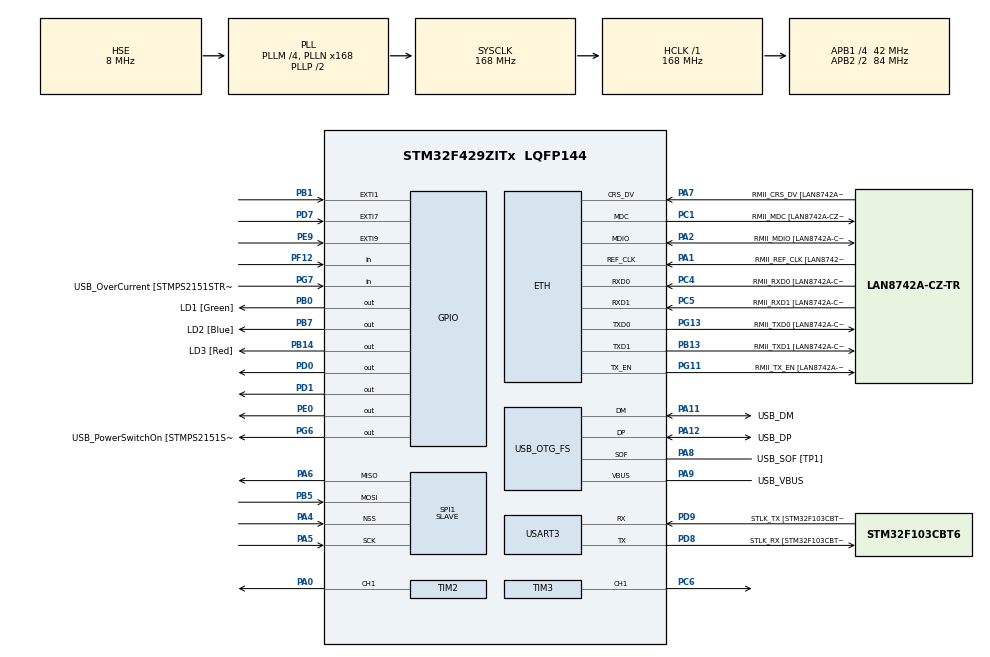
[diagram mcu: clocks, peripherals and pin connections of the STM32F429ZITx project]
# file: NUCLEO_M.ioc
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ETH.MediaInterface=HAL_ETH_RMII_MODE
ETH.PHY_Name=LAN8742A_PHY_ADDRESS
ETH.PHY_Value=0
ETH.PhyAddress=0
FREERTOS.Tasks01=defaultTask,0,256,StartDefaultTask,Default,NULL,Dynamic,NULL,NULL;DoorActing,0,128,DoorActingTask,Default,NULL,Dynamic,NULL,NULL;Logic,1,128,LogicTask,Default,NULL,Dynamic,NULL,NULL;Actuator,0,128,ActuatorTask,Default,NULL,Dynamic,NULL,NULL;DriveMode,2,128,DriveModeTask,Default,NULL,Dynamic,NULL,NULL
Mcu.Family=STM32F4
Mcu.Name=STM32F429ZITx
Mcu.Package=LQFP144
NVIC.EXTI9_5_IRQn=true\:6\:0\:true\:false\:true\:true\:true\:true\:true
NVIC.PriorityGroup=NVIC_PRIORITYGROUP_4
NVIC.SPI1_IRQn=true\:5\:0\:false\:false\:true\:true\:true\:true\:true
PA0/WKUP.Signal=S_TIM2_CH1_ETR
PA1.GPIO_Label=RMII_REF_CLK [LAN8742A-CZ-TR_REFCLK0]
PA1.Mode=RMII
PA1.Signal=ETH_REF_CLK
PA10.GPIO_Label=USB_ID
PA10.Signal=USB_OTG_FS_ID
PA11.GPIO_Label=USB_DM
PA11.Mode=Device_Only
PA11.Signal=USB_OTG_FS_DM
PA12.GPIO_Label=USB_DP
PA12.Mode=Device_Only
PA12.Signal=USB_OTG_FS_DP
PA13.GPIO_Label=TMS
PA13.Mode=Serial_Wire
PA13.Signal=SYS_JTMS-SWDIO
PA14.GPIO_Label=TCK
PA14.Mode=Serial_Wire
PA14.Signal=SYS_JTCK-SWCLK
PA2.GPIO_Label=RMII_MDIO [LAN8742A-CZ-TR_MDIO]
PA2.Mode=RMII
PA2.Signal=ETH_MDIO
PA4.GPIO_PuPd=GPIO_PULLUP
PA4.Mode=NSS_Signal_Hard_Input
PA4.Signal=SPI1_NSS
PA5.Mode=Full_Duplex_Slave
PA5.Signal=SPI1_SCK
PA6.Mode=Full_Duplex_Slave
PA6.Signal=SPI1_MISO
PA7.GPIO_Label=RMII_CRS_DV [LAN8742A-CZ-TR_CRS_DV]
PA7.Mode=RMII
PA7.Signal=ETH_CRS_DV
PA8.GPIO_Label=USB_SOF [TP1]
PA8.Mode=Activate_SOF_FS
PA8.Signal=USB_OTG_FS_SOF
PA9.GPIO_Label=USB_VBUS
PA9.Mode=Activate_VBUS
PA9.Signal=USB_OTG_FS_VBUS
PB0.GPIO_Label=LD1 [Green]
PB0.Signal=GPIO_Output
PB1.GPIO_ModeDefaultEXTI=GPIO_MODE_IT_FALLING
PB1.GPIO_PuPd=GPIO_PULLUP
PB1.Signal=GPXTI1
PB13.GPIO_Label=RMII_TXD1 [LAN8742A-CZ-TR_TXD1]
PB13.Mode=RMII
PB13.Signal=ETH_TXD1
PB14.GPIO_Label=LD3 [Red]
PB14.Signal=GPIO_Output
PB5.Mode=Full_Duplex_Slave
PB5.Signal=SPI1_MOSI
PB7.GPIO_Label=LD2 [Blue]
PB7.Signal=GPIO_Output
PC1.GPIO_Label=RMII_MDC [LAN8742A-CZ-TR_MDC]
PC1.Mode=RMII
PC1.Signal=ETH_MDC
PC14/OSC32_IN.Mode=LSE-External-Oscillator
PC14/OSC32_IN.Signal=RCC_OSC32_IN
PC15/OSC32_OUT.Mode=LSE-External-Oscillator
PC15/OSC32_OUT.Signal=RCC_OSC32_OUT
PC4.GPIO_Label=RMII_RXD0 [LAN8742A-CZ-TR_RXD0]
PC4.Mode=RMII
PC4.Signal=ETH_RXD0
PC5.GPIO_Label=RMII_RXD1 [LAN8742A-CZ-TR_RXD1]
PC5.Mode=RMII
PC5.Signal=ETH_RXD1
PC6.Signal=S_TIM3_CH1
PD0.Signal=GPIO_Output
PD1.Signal=GPIO_Output
PD7.GPIO_ModeDefaultEXTI=GPIO_MODE_IT_FALLING
PD7.GPIO_PuPd=GPIO_PULLUP
PD7.Signal=GPXTI7
PD8.GPIO_Label=STLK_RX [STM32F103CBT6_PA3]
PD8.Mode=Asynchronous
PD8.Signal=USART3_TX
PD9.GPIO_Label=STLK_TX [STM32F103CBT6_PA2]
PD9.Mode=Asynchronous
PD9.Signal=USART3_RX
PE0.Signal=GPIO_Output
PE9.GPIO_ModeDefaultEXTI=GPIO_MODE_IT_FALLING
PE9.GPIO_PuPd=GPIO_PULLUP
PE9.Signal=GPXTI9
PF12.GPIO_PuPd=GPIO_PULLUP
PF12.Signal=GPIO_Input
PG11.GPIO_Label=RMII_TX_EN [LAN8742A-CZ-TR_TXEN]
PG11.Mode=RMII
PG11.Signal=ETH_TX_EN
PG13.GPIO_Label=RMII_TXD0 [LAN8742A-CZ-TR_TXD0]
PG13.Mode=RMII
PG13.Signal=ETH_TXD0
PG6.GPIO_Label=USB_PowerSwitchOn [STMPS2151STR_EN]
PG6.Signal=GPIO_Output
PG7.GPIO_Label=USB_OverCurrent [STMPS2151STR_FAULT]
PG7.Signal=GPIO_Input
PH0/OSC_IN.GPIO_Label=MCO [STM32F103CBT6_PA8]
PH0/OSC_IN.Mode=HSE-External-Clock-Source
PH0/OSC_IN.Signal=RCC_OSC_IN
PH1/OSC_OUT.Mode=HSE-External-Clock-Source
PH1/OSC_OUT.Signal=RCC_OSC_OUT
ProjectManager.HeapSize=0x2000
ProjectManager.StackSize=0x4000
ProjectManager.TargetToolchain=STM32CubeIDE
RCC.48MHZClocksFreq_Value=48000000
RCC.AHBFreq_Value=168000000
RCC.APB1CLKDivider=RCC_HCLK_DIV4
RCC.APB1Freq_Value=42000000
RCC.APB1TimFreq_Value=84000000
RCC.APB2CLKDivider=RCC_HCLK_DIV2
RCC.APB2Freq_Value=84000000
RCC.APB2TimCLKDivider=2
RCC.APB2TimFreq_Value=168000000
RCC.CortexFreq_Value=168000000
RCC.HCLKFreq_Value=168000000
RCC.HSE_VALUE=8000000
RCC.HSI_VALUE=16000000
RCC.PLLM=4
RCC.PLLMUL=RCC_PLL_MUL9
RCC.PLLN=168
RCC.PLLQ=7
RCC.PRESCALERUSB=RCC_USBCLKSOURCE_PLL_DIV1_5
RCC.SYSCLKFreq_VALUE=168000000
RCC.SYSCLKSource=RCC_SYSCLKSOURCE_PLLCLK
RCC.SYSCLKSourceVirtual=RCC_SYSCLKSOURCE_PLLCLK
RCC.USBFreq_Value=48000000
RCC.VCOOutputFreq_Value=336000000
SH.S_TIM2_CH1_ETR.0=TIM2_CH1,PWM Generation1 CH1
SH.S_TIM3_CH1.0=TIM3_CH1,PWM Generation1 CH1
SPI1.Direction=SPI_DIRECTION_2LINES
SPI1.Mode=SPI_MODE_SLAVE
SPI1.VirtualNSS=VM_NSSHARD
SPI1.VirtualType=VM_SLAVE
TIM2.Channel-PWM\ Generation1\ CH1=TIM_CHANNEL_1
TIM2.Period=2000-1
TIM2.Prescaler=83
TIM3.Channel-PWM\ Generation1\ CH1=TIM_CHANNEL_1
TIM3.Period=20000-1
TIM3.Prescaler=84-1
USART3.VirtualMode=VM_ASYNC
USB_OTG_FS.VirtualMode=Device_Only
VP_FREERTOS_VS_CMSIS_V1.Mode=CMSIS_V1
board=NUCLEO-F429ZI

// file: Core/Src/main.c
/* USER CODE BEGIN Header */
/**
  ******************************************************************************
  * @file           : main.c
  * @brief          : Main program body
  ******************************************************************************
  * @attention
  *
  * Copyright (c) 2026 STMicroelectronics.
  * All rights reserved.
  *
  * This software is licensed under terms that can be found in the LICENSE file
  * in the root directory of this software component.
  * If no LICENSE file comes with this software, it is provided AS-IS.
  *
  ******************************************************************************
  */
/* USER CODE END Header */
#include "main.h"
#include "string.h"
#include "cmsis_os.h"

/* USER CODE BEGIN Includes */
#include "FreeRTOS.h"
#include "task.h"
#include "stdio.h"
/* USER CODE END Includes */

ETH_TxPacketConfig TxConfig;
ETH_DMADescTypeDef  DMARxDscrTab[ETH_RX_DESC_CNT]; /* Ethernet Rx DMA Descriptors */
ETH_DMADescTypeDef  DMATxDscrTab[ETH_TX_DESC_CNT]; /* Ethernet Tx DMA Descriptors */

ETH_HandleTypeDef heth;

SPI_HandleTypeDef hspi1;

TIM_HandleTypeDef htim2;
TIM_HandleTypeDef htim3;

UART_HandleTypeDef huart3;

PCD_HandleTypeDef hpcd_USB_OTG_FS;

osThreadId defaultTaskHandle;
osThreadId DoorActingHandle;
osThreadId LogicHandle;
osThreadId ActuatorHandle;
osThreadId DriveModeHandle;
/* USER CODE BEGIN PV */
// ----- Macro -----

// 크루즈
#define SAFE_DECEL  (0.5f)  		// 감속 제어 값
#define SAFE_ACCEL   (0.5f)  		// 가속 제어 값
#define PWM_MAX_VALUE (2000-1)      // 큐브MX에서 설정한 Counter Period (ARR) 값에 맞춰 수정하세요
#define PWM_STEP (0.01f)     // 가속도 당 PWM 변화 가중치 (테스트 후 조정 필요)
#define INF_DIST (999.0f)
#define DETECT_TIMEOUT_MS (5000)
#define DIST_SCAILE (5)
// 문
#define TH_PERSON_WARN_M        (30.0f)
#define TH_VEHICLE_WARN_M       (100.0f)   // 그림 기준: 8m 이하면 Warning(이륜차)
#define TH_VEHICLE_LOCK_M       (50.0f)   // 그림 기준: 8m 이하면 Warning(이륜차)
#define SERVO_PULSE_CLOSE_US    (1000)   // 500은 너무 위험할 수 있음(서보마다 다름)
#define SERVO_PULSE_OPEN_US     (1600)   // 필요시 1500/1800 등으로 캘리브레이션
#define DOOR_OPEN_HOLD_MS       (3000)   // 버튼 눌렀을 때 문 열림 유지시간
#define EMERGENCY_HOLD_MS       (5000)
#define DOOR_TIMEOUT 			(500)
// ----- 전역 구조체 정의 -----

// 크루즈
typedef enum {
    ACTION_MAINTAIN = 0,
    ACTION_DECELERATE,
    ACTION_ACCELERATE
} ActionState;

typedef enum {
	STOPPED = 0,
	DRIVING
} DrivingState;

typedef struct {				//크루즈 주행 시스템 위한 structure
	float distFront;
	uint8_t detectedFront;      // 전방 물체 유무
	    // 후방 데이터
	float distRear;
	uint8_t detectedRear;       // 후방 물체 유무

	float targetSpeed;          // 내 설정 속도 (%)
	//float safeDistThreshold;    // 안전거리 임계값
	uint8_t isEnabled;

} VehicleStatus;

typedef struct {
    VehicleStatus vs;
    uint32_t lastFrontTick;
    uint32_t lastRearTick;
} VehicleBoard;

// 문
typedef enum {
    MODE_MONITORING = 0,
    MODE_WARNING,
    MODE_LOCK,
	MODE_DRIVING
} SystemState_t;

typedef enum {
    CLASS_PERSON = 0,
    CLASS_BYCYCLE,
	CLASS_VEHICLE,
	CLASS_BIKE,
	CLASS_NONE
} ObjectClass_t;

// ---- 전역 변수 및 구조체 선언 ----
//통합
SemaphoreHandle_t startbtn_sem;
volatile DrivingState Drive_st = DRIVING;

//통신
uint8_t spi_tx_dummy[PACKET_SIZE] = {0};
Shared_Buffer_t g_spi_buf;

//크루즈
int32_t current_duty = (int32_t)(50.0f * (PWM_MAX_VALUE / 100.0f));      									// 현재 적용된 PWM Duty 값
volatile VehicleBoard g_board;
volatile ActionState currentAction = ACTION_MAINTAIN;			//현재 차량의 속도 상태

//문
SemaphoreHandle_t semaphoreH_Door;
volatile uint8_t button_pressed = 0;
volatile float currentDistance = INF_DIST;
volatile float preDistance = INF_DIST;
volatile ObjectClass_t currentClass = CLASS_NONE;
volatile uint8_t emergency_mode = 0;
volatile SystemState_t currentMode = MODE_MONITORING;
volatile uint32_t lastDoorTick = 0;

/* USER CODE END PV */

void SystemClock_Config(void);
static void MX_GPIO_Init(void);
static void MX_ETH_Init(void);
static void MX_USART3_UART_Init(void);
static void MX_USB_OTG_FS_PCD_Init(void);
static void MX_SPI1_Init(void);
static void MX_TIM2_Init(void);
static void MX_TIM3_Init(void);
void StartDefaultTask(void const * argument);
void DoorActingTask(void const * argument);
void LogicTask(void const * argument);
void ActuatorTask(void const * argument);
void DriveModeTask(void const * argument);

/* USER CODE BEGIN PFP */
static SystemState_t EvaluateMode(float dist, ObjectClass_t cls);
static void BoardTimeoutUpdate(void);
static void DecideActionFromBoard(void);
void Maintain_TargetSpeed(float target);
void Apply_Acceleration(float accel_value);
void Apply_Deceleration(float decel_value);
void Servo_Door(uint32_t* arg_open_until, uint8_t* arg_last_btn);
void DoorForceOpen(void);
void Motor_StartKick(void);

/* USER CODE END PFP */

/* USER CODE BEGIN 0 */
#include <stdarg.h>

void Uart3_Send_Byte(char ch){
	//	TDR이 비었는 경우에 쓰기 가능 (TXE == 1 대기)
	if(ch=='\n'){
		while((USART3->SR>>7 & 0x1)==0);
		USART3->DR = '\r';	// TDR <- c
	}
	while((USART3->SR>>7 & 0x1)==0);
	USART3->DR = ch;		// TDR <- c
}

void Uart3_Send_String(char* str){
	while(*str){
		Uart3_Send_Byte(*str++);
	}
}

void Uart3_Printf(char *fmt,...)
{
	va_list ap;
	char string[64];

	va_start(ap,fmt);
	vsnprintf(string,sizeof(string),fmt,ap);
	va_end(ap);
	Uart3_Send_String(string);
}
/* USER CODE END 0 */

int main(void)
{

  /* MCU Configuration--------------------------------------------------------*/

  /* Reset of all peripherals, Initializes the Flash interface and the Systick. */
  HAL_Init();

  /* Configure the system clock */
  SystemClock_Config();

  /* Initialize all configured peripherals */
  MX_GPIO_Init();
  MX_ETH_Init();
  MX_USART3_UART_Init();
  MX_USB_OTG_FS_PCD_Init();
  MX_SPI1_Init();
  MX_TIM2_Init();
  MX_TIM3_Init();
  /* USER CODE BEGIN 2 */

  memset((void*)&g_board, 0, sizeof(g_board));

  HAL_TIM_PWM_Start(&htim2, TIM_CHANNEL_1);
  HAL_TIM_PWM_Start(&htim3, TIM_CHANNEL_1);
  g_board.vs.detectedFront = 0;
  g_board.vs.isEnabled = 1;
  g_board.vs.detectedRear = 0;
  g_board.vs.targetSpeed = 70.0f;
  g_board.vs.distFront = INF_DIST;

  g_board.vs.distRear = INF_DIST;
  HAL_GPIO_WritePin(GPIOD, GPIO_PIN_0, GPIO_PIN_SET);   // IN1
  HAL_GPIO_WritePin(GPIOD, GPIO_PIN_1, GPIO_PIN_RESET); // IN2
  /* USER CODE END 2 */

  /* USER CODE BEGIN RTOS_TIMERS */
  /* start timers, add new ones, ... */
  semaphoreH_Door = xSemaphoreCreateBinary();
  startbtn_sem = xSemaphoreCreateBinary();
  /* USER CODE END RTOS_TIMERS */

  /* Create the thread(s) */
  /* definition and creation of defaultTask */
  osThreadDef(defaultTask, StartDefaultTask, osPriorityNormal, 0, 256);
  defaultTaskHandle = osThreadCreate(osThread(defaultTask), NULL);

  /* definition and creation of DoorActing */
  osThreadDef(DoorActing, DoorActingTask, osPriorityNormal, 0, 128);
  DoorActingHandle = osThreadCreate(osThread(DoorActing), NULL);

  /* definition and creation of Logic */
  osThreadDef(Logic, LogicTask, osPriorityAboveNormal, 0, 128);
  LogicHandle = osThreadCreate(osThread(Logic), NULL);

  /* definition and creation of Actuator */
  osThreadDef(Actuator, ActuatorTask, osPriorityNormal, 0, 128);
  ActuatorHandle = osThreadCreate(osThread(Actuator), NULL);

  /* definition and creation of DriveMode */
  osThreadDef(DriveMode, DriveModeTask, osPriorityHigh, 0, 128);
  DriveModeHandle = osThreadCreate(osThread(DriveMode), NULL);

  /* Start scheduler */
  osKernelStart();

  /* We should never get here as control is now taken by the scheduler */

  /* Infinite loop */
  while (1)
  {

  }
}

void SystemClock_Config(void)
{
  RCC_OscInitTypeDef RCC_OscInitStruct = {0};
  RCC_ClkInitTypeDef RCC_ClkInitStruct = {0};

  /** Configure the main internal regulator output voltage
  */
  __HAL_RCC_PWR_CLK_ENABLE();
  __HAL_PWR_VOLTAGESCALING_CONFIG(PWR_REGULATOR_VOLTAGE_SCALE1);

  /** Initializes the RCC Oscillators according to the specified parameters
  * in the RCC_OscInitTypeDef structure.
  */
  RCC_OscInitStruct.OscillatorType = RCC_OSCILLATORTYPE_HSE;
  RCC_OscInitStruct.HSEState = RCC_HSE_BYPASS;
  RCC_OscInitStruct.PLL.PLLState = RCC_PLL_ON;
  RCC_OscInitStruct.PLL.PLLSource = RCC_PLLSOURCE_HSE;
  RCC_OscInitStruct.PLL.PLLM = 4;
  RCC_OscInitStruct.PLL.PLLN = 168;
  RCC_OscInitStruct.PLL.PLLP = RCC_PLLP_DIV2;
  RCC_OscInitStruct.PLL.PLLQ = 7;
  if (HAL_RCC_OscConfig(&RCC_OscInitStruct) != HAL_OK)
  {
    Error_Handler();
  }

  /** Initializes the CPU, AHB and APB buses clocks
  */
  RCC_ClkInitStruct.ClockType = RCC_CLOCKTYPE_HCLK|RCC_CLOCKTYPE_SYSCLK
                              |RCC_CLOCKTYPE_PCLK1|RCC_CLOCKTYPE_PCLK2;
  RCC_ClkInitStruct.SYSCLKSource = RCC_SYSCLKSOURCE_PLLCLK;
  RCC_ClkInitStruct.AHBCLKDivider = RCC_SYSCLK_DIV1;
  RCC_ClkInitStruct.APB1CLKDivider = RCC_HCLK_DIV4;
  RCC_ClkInitStruct.APB2CLKDivider = RCC_HCLK_DIV2;

  if (HAL_RCC_ClockConfig(&RCC_ClkInitStruct, FLASH_LATENCY_5) != HAL_OK)
  {
    Error_Handler();
  }
}

static void MX_ETH_Init(void)
{

   static uint8_t MACAddr[6];

  heth.Instance = ETH;
  MACAddr[0] = 0x00;
  MACAddr[1] = 0x80;
  MACAddr[2] = 0xE1;
  MACAddr[3] = 0x00;
  MACAddr[4] = 0x00;
  MACAddr[5] = 0x00;
  heth.Init.MACAddr = &MACAddr[0];
  heth.Init.MediaInterface = HAL_ETH_RMII_MODE;
  heth.Init.TxDesc = DMATxDscrTab;
  heth.Init.RxDesc = DMARxDscrTab;
  heth.Init.RxBuffLen = 1524;

  if (HAL_ETH_Init(&heth) != HAL_OK)
  {
    Error_Handler();
  }

  memset(&TxConfig, 0 , sizeof(ETH_TxPacketConfig));
  TxConfig.Attributes = ETH_TX_PACKETS_FEATURES_CSUM | ETH_TX_PACKETS_FEATURES_CRCPAD;
  TxConfig.ChecksumCtrl = ETH_CHECKSUM_IPHDR_PAYLOAD_INSERT_PHDR_CALC;
  TxConfig.CRCPadCtrl = ETH_CRC_PAD_INSERT;

}

static void MX_SPI1_Init(void)
{

  /* SPI1 parameter configuration*/
  hspi1.Instance = SPI1;
  hspi1.Init.Mode = SPI_MODE_SLAVE;
  hspi1.Init.Direction = SPI_DIRECTION_2LINES;
  hspi1.Init.DataSize = SPI_DATASIZE_8BIT;
  hspi1.Init.CLKPolarity = SPI_POLARITY_LOW;
  hspi1.Init.CLKPhase = SPI_PHASE_1EDGE;
  hspi1.Init.NSS = SPI_NSS_HARD_INPUT;
  hspi1.Init.FirstBit = SPI_FIRSTBIT_MSB;
  hspi1.Init.TIMode = SPI_TIMODE_DISABLE;
  hspi1.Init.CRCCalculation = SPI_CRCCALCULATION_DISABLE;
  hspi1.Init.CRCPolynomial = 10;
  if (HAL_SPI_Init(&hspi1) != HAL_OK)
  {
    Error_Handler();
  }

}

static void MX_TIM2_Init(void)
{

  TIM_MasterConfigTypeDef sMasterConfig = {0};
  TIM_OC_InitTypeDef sConfigOC = {0};

  htim2.Instance = TIM2;
  htim2.Init.Prescaler = 83;
  htim2.Init.CounterMode = TIM_COUNTERMODE_UP;
  htim2.Init.Period = 2000-1;
  htim2.Init.ClockDivision = TIM_CLOCKDIVISION_DIV1;
  htim2.Init.AutoReloadPreload = TIM_AUTORELOAD_PRELOAD_DISABLE;
  if (HAL_TIM_PWM_Init(&htim2) != HAL_OK)
  {
    Error_Handler();
  }
  sMasterConfig.MasterOutputTrigger = TIM_TRGO_RESET;
  sMasterConfig.MasterSlaveMode = TIM_MASTERSLAVEMODE_DISABLE;
  if (HAL_TIMEx_MasterConfigSynchronization(&htim2, &sMasterConfig) != HAL_OK)
  {
    Error_Handler();
  }
  sConfigOC.OCMode = TIM_OCMODE_PWM1;
  sConfigOC.Pulse = 0;
  sConfigOC.OCPolarity = TIM_OCPOLARITY_HIGH;
  sConfigOC.OCFastMode = TIM_OCFAST_DISABLE;
  if (HAL_TIM_PWM_ConfigChannel(&htim2, &sConfigOC, TIM_CHANNEL_1) != HAL_OK)
  {
    Error_Handler();
  }
  HAL_TIM_MspPostInit(&htim2);

}

static void MX_TIM3_Init(void)
{

  TIM_MasterConfigTypeDef sMasterConfig = {0};
  TIM_OC_InitTypeDef sConfigOC = {0};

  htim3.Instance = TIM3;
  htim3.Init.Prescaler = 84-1;
  htim3.Init.CounterMode = TIM_COUNTERMODE_UP;
  htim3.Init.Period = 20000-1;
  htim3.Init.ClockDivision = TIM_CLOCKDIVISION_DIV1;
  htim3.Init.AutoReloadPreload = TIM_AUTORELOAD_PRELOAD_DISABLE;
  if (HAL_TIM_PWM_Init(&htim3) != HAL_OK)
  {
    Error_Handler();
  }
  sMasterConfig.MasterOutputTrigger = TIM_TRGO_RESET;
  sMasterConfig.MasterSlaveMode = TIM_MASTERSLAVEMODE_DISABLE;
  if (HAL_TIMEx_MasterConfigSynchronization(&htim3, &sMasterConfig) != HAL_OK)
  {
    Error_Handler();
  }
  sConfigOC.OCMode = TIM_OCMODE_PWM1;
  sConfigOC.Pulse = 0;
  sConfigOC.OCPolarity = TIM_OCPOLARITY_HIGH;
  sConfigOC.OCFastMode = TIM_OCFAST_DISABLE;
  if (HAL_TIM_PWM_ConfigChannel(&htim3, &sConfigOC, TIM_CHANNEL_1) != HAL_OK)
  {
    Error_Handler();
  }
  HAL_TIM_MspPostInit(&htim3);

}

static void MX_USART3_UART_Init(void)
{

  huart3.Instance = USART3;
  huart3.Init.BaudRate = 115200;
  huart3.Init.WordLength = UART_WORDLENGTH_8B;
  huart3.Init.StopBits = UART_STOPBITS_1;
  huart3.Init.Parity = UART_PARITY_NONE;
  huart3.Init.Mode = UART_MODE_TX_RX;
  huart3.Init.HwFlowCtl = UART_HWCONTROL_NONE;
  huart3.Init.OverSampling = UART_OVERSAMPLING_16;
  if (HAL_UART_Init(&huart3) != HAL_OK)
  {
    Error_Handler();
  }

}

static void MX_USB_OTG_FS_PCD_Init(void)
{

  hpcd_USB_OTG_FS.Instance = USB_OTG_FS;
  hpcd_USB_OTG_FS.Init.dev_endpoints = 4;
  hpcd_USB_OTG_FS.Init.speed = PCD_SPEED_FULL;
  hpcd_USB_OTG_FS.Init.dma_enable = DISABLE;
  hpcd_USB_OTG_FS.Init.phy_itface = PCD_PHY_EMBEDDED;
  hpcd_USB_OTG_FS.Init.Sof_enable = ENABLE;
  hpcd_USB_OTG_FS.Init.low_power_enable = DISABLE;
  hpcd_USB_OTG_FS.Init.lpm_enable = DISABLE;
  hpcd_USB_OTG_FS.Init.vbus_sensing_enable = ENABLE;
  hpcd_USB_OTG_FS.Init.use_dedicated_ep1 = DISABLE;
  if (HAL_PCD_Init(&hpcd_USB_OTG_FS) != HAL_OK)
  {
    Error_Handler();
  }

}

static void MX_GPIO_Init(void)
{
  GPIO_InitTypeDef GPIO_InitStruct = {0};

  /* GPIO Ports Clock Enable */
  __HAL_RCC_GPIOC_CLK_ENABLE();
  __HAL_RCC_GPIOH_CLK_ENABLE();
  __HAL_RCC_GPIOA_CLK_ENABLE();
  __HAL_RCC_GPIOB_CLK_ENABLE();
  __HAL_RCC_GPIOF_CLK_ENABLE();
  __HAL_RCC_GPIOE_CLK_ENABLE();
  __HAL_RCC_GPIOD_CLK_ENABLE();
  __HAL_RCC_GPIOG_CLK_ENABLE();

  /*Configure GPIO pin Output Level */
  HAL_GPIO_WritePin(GPIOB, LD1_Pin|LD3_Pin|LD2_Pin, GPIO_PIN_RESET);

  /*Configure GPIO pin Output Level */
  HAL_GPIO_WritePin(USB_PowerSwitchOn_GPIO_Port, USB_PowerSwitchOn_Pin, GPIO_PIN_RESET);

  /*Configure GPIO pin Output Level */
  HAL_GPIO_WritePin(GPIOD, GPIO_PIN_0|GPIO_PIN_1, GPIO_PIN_RESET);

  /*Configure GPIO pin Output Level */
  HAL_GPIO_WritePin(GPIOE, GPIO_PIN_0, GPIO_PIN_RESET);

  /*Configure GPIO pins : LD1_Pin LD3_Pin LD2_Pin */
  GPIO_InitStruct.Pin = LD1_Pin|LD3_Pin|LD2_Pin;
  GPIO_InitStruct.Mode = GPIO_MODE_OUTPUT_PP;
  GPIO_InitStruct.Pull = GPIO_NOPULL;
  GPIO_InitStruct.Speed = GPIO_SPEED_FREQ_LOW;
  HAL_GPIO_Init(GPIOB, &GPIO_InitStruct);

  /*Configure GPIO pin : PB1 */
  GPIO_InitStruct.Pin = GPIO_PIN_1;
  GPIO_InitStruct.Mode = GPIO_MODE_IT_FALLING;
  GPIO_InitStruct.Pull = GPIO_PULLUP;
  HAL_GPIO_Init(GPIOB, &GPIO_InitStruct);

  /*Configure GPIO pin : PF12 */
  GPIO_InitStruct.Pin = GPIO_PIN_12;
  GPIO_InitStruct.Mode = GPIO_MODE_INPUT;
  GPIO_InitStruct.Pull = GPIO_PULLUP;
  HAL_GPIO_Init(GPIOF, &GPIO_InitStruct);

  /*Configure GPIO pin : PE9 */
  GPIO_InitStruct.Pin = GPIO_PIN_9;
  GPIO_InitStruct.Mode = GPIO_MODE_IT_FALLING;
  GPIO_InitStruct.Pull = GPIO_PULLUP;
  HAL_GPIO_Init(GPIOE, &GPIO_InitStruct);

  /*Configure GPIO pin : USB_PowerSwitchOn_Pin */
  GPIO_InitStruct.Pin = USB_PowerSwitchOn_Pin;
  GPIO_InitStruct.Mode = GPIO_MODE_OUTPUT_PP;
  GPIO_InitStruct.Pull = GPIO_NOPULL;
  GPIO_InitStruct.Speed = GPIO_SPEED_FREQ_LOW;
  HAL_GPIO_Init(USB_PowerSwitchOn_GPIO_Port, &GPIO_InitStruct);

  /*Configure GPIO pin : USB_OverCurrent_Pin */
  GPIO_InitStruct.Pin = USB_OverCurrent_Pin;
  GPIO_InitStruct.Mode = GPIO_MODE_INPUT;
  GPIO_InitStruct.Pull = GPIO_NOPULL;
  HAL_GPIO_Init(USB_OverCurrent_GPIO_Port, &GPIO_InitStruct);

  /*Configure GPIO pins : PD0 PD1 */
  GPIO_InitStruct.Pin = GPIO_PIN_0|GPIO_PIN_1;
  GPIO_InitStruct.Mode = GPIO_MODE_OUTPUT_PP;
  GPIO_InitStruct.Pull = GPIO_NOPULL;
  GPIO_InitStruct.Speed = GPIO_SPEED_FREQ_LOW;
  HAL_GPIO_Init(GPIOD, &GPIO_InitStruct);

  /*Configure GPIO pin : PD7 */
  GPIO_InitStruct.Pin = GPIO_PIN_7;
  GPIO_InitStruct.Mode = GPIO_MODE_IT_FALLING;
  GPIO_InitStruct.Pull = GPIO_PULLUP;
  HAL_GPIO_Init(GPIOD, &GPIO_InitStruct);

  /*Configure GPIO pin : PE0 */
  GPIO_InitStruct.Pin = GPIO_PIN_0;
  GPIO_InitStruct.Mode = GPIO_MODE_OUTPUT_PP;
  GPIO_InitStruct.Pull = GPIO_NOPULL;
  GPIO_InitStruct.Speed = GPIO_SPEED_FREQ_LOW;
  HAL_GPIO_Init(GPIOE, &GPIO_InitStruct);

  /* EXTI interrupt init*/
  HAL_NVIC_SetPriority(EXTI9_5_IRQn, 6, 0);
  HAL_NVIC_EnableIRQ(EXTI9_5_IRQn);

}

/* USER CODE BEGIN 4 */

void HAL_GPIO_EXTI_Callback(uint16_t GPIO_Pin)
{
	BaseType_t hpw = pdFALSE;

    if (GPIO_Pin == GPIO_PIN_7) // PD7 or 유저버튼 주행 모드 전환
    {
    	xSemaphoreGiveFromISR(startbtn_sem, &hpw);
    	portYIELD_FROM_ISR(hpw);
    }
    if (GPIO_Pin == GPIO_PIN_9) // PE9 비상 버튼
    {
        if (!emergency_mode) emergency_mode = 1;
        emergency_mode = 1;
    }
}

void HAL_SPI_TxRxCpltCallback(SPI_HandleTypeDef *hspi)
{
    if (hspi->Instance != SPI1) return;

    // 디버그 LED
    HAL_GPIO_TogglePin(GPIOB, LD1_Pin);
    // 1) Header 체크
    if (g_spi_buf.data.header != 0xAA)
        goto restart;

    // 2) Checksum
    uint8_t cs = 0;
    for (int i = 0; i < PACKET_SIZE - 1; i++)
        cs ^= g_spi_buf.buffer[i];

    if (cs != g_spi_buf.data.checksum)
        goto restart;

    // 3) Detected 아니면 무시(너 정책)
    if (g_spi_buf.data.detected > 1)		//detected 0이 앞 1이 뒤
        goto restart;

    // 4) front/rear 판별 기준 (지금은 bbox_x로)
    //    bbox_x > 0 : front, else rear
    uint32_t now = xTaskGetTickCountFromISR();

    // ISR 크리티컬 (FreeRTOS)
    UBaseType_t saved = taskENTER_CRITICAL_FROM_ISR();
    uint8_t cid = g_spi_buf.data.class_ID;
    if (cid == CLASS_VEHICLE){			//기존 코드 -> 가장 바깥쪽 if / else(cid==classvehicle 다 지워버리면 됨)
    if (g_spi_buf.data.detected == 0) {
        g_board.vs.detectedFront = 1;
        g_board.vs.distFront = g_spi_buf.data.distance;
        g_board.lastFrontTick = now;
    } else {
        g_board.vs.detectedRear = 1;
        g_board.vs.distRear = g_spi_buf.data.distance;
        g_board.lastRearTick = now;
    }
    }
    else{
    	if(g_spi_buf.data.detected == 1 ){
    		currentClass =  (ObjectClass_t)cid;
    		currentDistance = g_spi_buf.data.distance;
    		lastDoorTick = now;
    	}
    }
    taskEXIT_CRITICAL_FROM_ISR(saved);

restart:
    // ⭐ 반드시 재시작
    HAL_SPI_TransmitReceive_IT(
        hspi,
        spi_tx_dummy,
        g_spi_buf.buffer,
        PACKET_SIZE
    );
}

static void BoardTimeoutUpdate(void)
{
    uint32_t now = xTaskGetTickCount();
    uint32_t timeout = pdMS_TO_TICKS(DETECT_TIMEOUT_MS);

    taskENTER_CRITICAL();
    if (g_board.vs.detectedFront && (now - g_board.lastFrontTick > timeout)) {
        g_board.vs.detectedFront = 0;
        g_board.vs.distFront = INF_DIST;
    }
    if (g_board.vs.detectedRear && (now - g_board.lastRearTick > timeout)) {
        g_board.vs.detectedRear = 0;
        g_board.vs.distRear = INF_DIST;
    }
    taskEXIT_CRITICAL();
}

static void DecideActionFromBoard(void)
{

	// 안전거리 계산
    float safeDistThreshold = ((g_board.vs.targetSpeed * 0.2f) - 4.0f) * DIST_SCAILE;

    // 상황판 스냅샷을 복사해서 쓰면 더 안전
    taskENTER_CRITICAL();
    uint8_t detectedFront_cp 	= g_board.vs.detectedFront;
    float distFront_cp     		= g_board.vs.distFront;
    uint8_t detectedRear_cp  	= g_board.vs.detectedRear;
    float distRear_cp      		= g_board.vs.distRear;
    taskEXIT_CRITICAL();

    //전방거리 먼저 따짐
    if (detectedFront_cp && distFront_cp < safeDistThreshold) {
        currentAction = ACTION_DECELERATE;
    }

    //elif로 후방거리 따짐
    else if (detectedRear_cp && distRear_cp < safeDistThreshold) {
        currentAction = ACTION_ACCELERATE;
    }
    else {
        currentAction = ACTION_MAINTAIN;
    }
}

void Motor_StartKick(void)
{
  __HAL_TIM_SET_COMPARE(&htim2, TIM_CHANNEL_1, PWM_MAX_VALUE * 0.7); // 70%
  osDelay(100);
}

void Maintain_TargetSpeed(float target) {
	// target 값을 기반으로 PWM 수치를 결정 (단순 맵핑)
	    // 예: target이 0~100(%) 이라면 ARR 값에 비례하게 설정

	    current_duty = (int32_t)(target * (PWM_MAX_VALUE / 100.0f));

	    // 안전을 위한 범위 제한
	    if (current_duty > PWM_MAX_VALUE) current_duty = PWM_MAX_VALUE;
	    if (current_duty < 0) current_duty = 0;

	    __HAL_TIM_SET_COMPARE(&htim2, TIM_CHANNEL_1, (uint32_t)current_duty);
}

void Apply_Acceleration(float accel_value)
{
    // 1. 방향 제어 (Forward) - 모터 드라이버 IN 핀 설정
	 HAL_GPIO_WritePin(GPIOD, GPIO_PIN_0, GPIO_PIN_SET);   // IN1
	 HAL_GPIO_WritePin(GPIOD, GPIO_PIN_1, GPIO_PIN_RESET); // IN2

    // 2. 가속도에 따른 Duty 증가
    current_duty += (int32_t)(accel_value * (PWM_MAX_VALUE / 100.0f));

    // 3. Max Limit 제한
    if (current_duty > PWM_MAX_VALUE) current_duty = PWM_MAX_VALUE;

    // 4. TIM2 채널 1에 PWM 적용
    __HAL_TIM_SET_COMPARE(&htim2, TIM_CHANNEL_1, (uint32_t)current_duty);
}

void Apply_Deceleration(float decel_value)
{
    // 1. 방향 유지 (Forward)
	 HAL_GPIO_WritePin(GPIOD, GPIO_PIN_0, GPIO_PIN_SET);   // IN1
	 HAL_GPIO_WritePin(GPIOD, GPIO_PIN_1, GPIO_PIN_RESET); // IN2

    // 2. 감속도에 따른 Duty 감소 (decel_value가 음수면 더하기, 양수면 빼기로 로직 통일 필요)
    // 여기서는 decel_value가 -3.0f로 들어온다고 가정하여 더해줍니다.
    current_duty -= (int32_t)(decel_value * (PWM_MAX_VALUE / 100.0f));

    // 3. Min Limit 제한 (정지 상태 이하로 떨어지지 않게)
    if (current_duty < 0) current_duty = 0;

    // 4. TIM2 채널 1에 PWM 적용
    __HAL_TIM_SET_COMPARE(&htim2, TIM_CHANNEL_1, (uint32_t)current_duty);
}

static SystemState_t EvaluateMode(float dist, ObjectClass_t cls)
{
//	if (Drive_st) 							return MODE_DRIVING;	//무조건 driving이면 일단 MODE_DRIVING 확인 후 잠구기

    if (cls == CLASS_BIKE || cls == CLASS_BYCYCLE || cls == CLASS_VEHICLE)
    {
        if (dist <= TH_VEHICLE_LOCK_M)      return MODE_LOCK;
        else if (dist < TH_VEHICLE_WARN_M)  return MODE_WARNING;
        else                                return MODE_MONITORING;
    }
    else if (cls == CLASS_PERSON)
    {
        if (dist <= TH_PERSON_WARN_M)       return MODE_WARNING;
        else                                return MODE_MONITORING;
    }

    return MODE_MONITORING;
}

void Servo_Door(uint32_t* arg_open_until, uint8_t* arg_last_btn){
    uint32_t now = osKernelSysTick(); // ms tick (CMSIS-OS1 환경에서 보통 1ms)

     // 2) LOCK: 문 열림 절대 금지(위험 모드=문 잠금)
     if (currentMode == MODE_LOCK) {
         __HAL_TIM_SET_COMPARE(&htim3, TIM_CHANNEL_1, SERVO_PULSE_CLOSE_US);
         *arg_open_until = 0;
         *arg_last_btn = button_pressed;
         return;
     }

     // 3) Monitoring/Warning: 문열림 가능
     // 버튼 "눌림 에지"에서만 open hold 타이머 세팅 (누르고 있는 내내 열림 방지)
     if (button_pressed && !(*arg_last_btn)) {
    	 *arg_open_until = now + DOOR_OPEN_HOLD_MS;
     }
     *arg_last_btn = button_pressed;

     if (*arg_open_until != 0 && (int32_t)(*arg_open_until - now) > 0) {
         __HAL_TIM_SET_COMPARE(&htim3, TIM_CHANNEL_1, SERVO_PULSE_OPEN_US);
     } else {
    	*arg_open_until = 0;
         __HAL_TIM_SET_COMPARE(&htim3, TIM_CHANNEL_1, SERVO_PULSE_CLOSE_US);
     }
}

void DoorForceOpen(void)
{
	__HAL_TIM_SET_COMPARE(&htim3, TIM_CHANNEL_1, SERVO_PULSE_OPEN_US);

        // 5초 보장
	osDelay(EMERGENCY_HOLD_MS);

	emergency_mode = 0;
        // 비상 끝나면 닫힘(그림상 다시 잠그는 쪽이 안전)
	__HAL_TIM_SET_COMPARE(&htim3, TIM_CHANNEL_1, SERVO_PULSE_CLOSE_US);
}
/* USER CODE END 4 */

void StartDefaultTask(void const * argument)
{
  /* USER CODE BEGIN 5 */
	HAL_SPI_TransmitReceive_IT(&hspi1, spi_tx_dummy, g_spi_buf.buffer, PACKET_SIZE);
  /* Infinite loop */
  for(;;)
  {
	  Uart3_Printf("Velocity : %ld\n", (long)((current_duty*100)/PWM_MAX_VALUE) + 1);
    osDelay(500);
  }
  /* USER CODE END 5 */
}

void DoorActingTask(void const * argument)
{
  /* USER CODE BEGIN DoorActingTask */
  /* Infinite loop */
  for(;;)
  {
      if (emergency_mode) {
          // 비상일 땐 "위험" 표시: 빨강 LED 켬
//            HAL_GPIO_WritePin(GPIOB, LD3_Pin, GPIO_PIN_SET);
          HAL_GPIO_WritePin(GPIOE, GPIO_PIN_0, GPIO_PIN_SET);
          osDelay(30);
          HAL_GPIO_WritePin(GPIOE, GPIO_PIN_0, GPIO_PIN_RESET);
          osDelay(100);
          continue;
      }
      xSemaphoreTake(semaphoreH_Door, portMAX_DELAY);
      if (currentMode == MODE_MONITORING || Drive_st == DRIVING) { //servo 제외하면 주행중엔 일반 상태와 동일
          // Monitoring: 조용히
//            HAL_GPIO_WritePin(GPIOB, LD2_Pin, GPIO_PIN_RESET);
//            HAL_GPIO_WritePin(GPIOB, LD3_Pin, GPIO_PIN_RESET);
          HAL_GPIO_WritePin(GPIOE, GPIO_PIN_0, GPIO_PIN_RESET);
          osDelay(100);
      }
      else if (currentMode == MODE_WARNING) {
          // Warning: 파랑 LED 깜빡 + 부저 짧게
//            HAL_GPIO_TogglePin(GPIOB, LD2_Pin);
//            HAL_GPIO_WritePin(GPIOB, LD3_Pin, GPIO_PIN_RESET);

          HAL_GPIO_WritePin(GPIOE, GPIO_PIN_0, GPIO_PIN_SET);
          osDelay(60);
          HAL_GPIO_WritePin(GPIOE, GPIO_PIN_0, GPIO_PIN_RESET);

          osDelay(100);
      }
      else { // MODE_LOCK
          // Lock: 빨강 LED 켬(위험 느낌)
//            HAL_GPIO_WritePin(GPIOB, LD3_Pin, GPIO_PIN_SET);
//            HAL_GPIO_WritePin(GPIOB, LD2_Pin, GPIO_PIN_RESET);

          // 부저는 취향인데, 너무 시끄러우면 끄고, 원하면 짧게 삑삑
          HAL_GPIO_WritePin(GPIOE, GPIO_PIN_0, GPIO_PIN_SET);
          osDelay(30);
          HAL_GPIO_WritePin(GPIOE, GPIO_PIN_0, GPIO_PIN_RESET);
          osDelay(100);
      }
  }
  /* USER CODE END DoorActingTask */
}

void LogicTask(void const * argument)
{
  /* USER CODE BEGIN LogicTask */

  /* Infinite loop */
  for(;;)
  {
	  	uint32_t now = xTaskGetTickCount();
	  	uint8_t pd7 = (HAL_GPIO_ReadPin(GPIOD, GPIO_PIN_7) == GPIO_PIN_RESET); // pullup+falling 가정
	  	HAL_GPIO_WritePin(GPIOB, LD2_Pin, pd7 ? GPIO_PIN_SET : GPIO_PIN_RESET);
	  	//HAL_GPIO_WritePin(GPIOB, LD1_Pin, Drive_st ? GPIO_PIN_SET : GPIO_PIN_RESET);
	  	BoardTimeoutUpdate();			//상황판은 계속 최신 상태로 유지 -> 반응성 UP
	    if(Drive_st == DRIVING){
	  	  if (!g_board.vs.isEnabled) {	//cruize가 안켜져있으면 Maintain(주행)으로 continue
	  		  	  	 currentAction = ACTION_MAINTAIN;
	  		  	  	 osDelay(60);
	  	             continue;
	  	         }
	  	  DecideActionFromBoard();   //크루즈 켜져있으면 크루즈 의사결정 함수가 의사결정
	  	  osDelay(60);
	  	  continue;
	    }
	    // 주행중 아닐 때
	    //g_board.vs.isEnabled = 0; // 정지시 크루즈 자동 종료

	    // Door logic
	    // test할 때 if 죽이기
	    if (now - lastDoorTick > pdMS_TO_TICKS(DOOR_TIMEOUT)) { // 0.5초 이상 갱신 없으면
	        currentClass = CLASS_NONE;
	        currentDistance = INF_DIST;
	    }
	    xSemaphoreGive(semaphoreH_Door);
	    currentMode = EvaluateMode(currentDistance, currentClass);
	    //Actuator에서 drive중이면 자동으로 잠구자
	    button_pressed = (HAL_GPIO_ReadPin(GPIOF, GPIO_PIN_12) == GPIO_PIN_RESET) ? 1 : 0;
	    osDelay(40);
	    //HAL_GPIO_TogglePin(GPIOB, LD1_Pin); // <- 눈으로 확인
  }
  /* USER CODE END LogicTask */
}

void ActuatorTask(void const * argument)
{
  /* USER CODE BEGIN ActuatorTask */
  uint32_t open_until = 0;
  uint8_t last_btn = 0;
  /* Infinite loop */
  for(;;)
  {
		//uint8_t driving_cp;
//		taskENTER_CRITICAL();					//실시간성이 중요하니 Drive_st는 직접 읽기(어차피 여기선 한번만 읽음)
//		driving_cp = Drive_st;
//		taskEXIT_CRITICAL();

		if(emergency_mode){						//emrgency면 door 강제 open 이벤트
			DoorForceOpen();
		}

		if (Drive_st == STOPPED) {				// driving이 0이면 주행 X

		    current_duty = 0;
		    __HAL_TIM_SET_COMPARE(&htim2, TIM_CHANNEL_1, 0);
		    // ----- pwm 0으로 조절 -----

		    //door actuator
		    Servo_Door(&open_until, &last_btn);
		    osDelay(20);
		    continue;
		}

		//-----주행중일 때------
		//door 강제로 막아버리기
		__HAL_TIM_SET_COMPARE(&htim3, TIM_CHANNEL_1, SERVO_PULSE_CLOSE_US);

		//Cruize Actuator
		switch(currentAction) {
			case ACTION_ACCELERATE: Apply_Acceleration(SAFE_ACCEL); break;
			case ACTION_DECELERATE: Apply_Deceleration(SAFE_DECEL); break;
			case ACTION_MAINTAIN:   Maintain_TargetSpeed(g_board.vs.targetSpeed); break;
		}

		osDelay(20);
  }
  /* USER CODE END ActuatorTask */
}

void DriveModeTask(void const * argument)
{
  /* USER CODE BEGIN DriveModeTask */
  /* Infinite loop */
	  uint32_t last = 0;

	    for (;;) {
	        xSemaphoreTake(startbtn_sem, portMAX_DELAY);

	        uint32_t now = xTaskGetTickCount();
	        if (now - last < pdMS_TO_TICKS(200)) continue;

	        last = now;
	        if (Drive_st == STOPPED) {
	            Drive_st = DRIVING;
	            Motor_StartKick();
	        } else {
	            Drive_st = STOPPED;
	        }
	        osDelay(1);
	    }

  /* USER CODE END DriveModeTask */
}

void Error_Handler(void)
{
  __disable_irq();
  while (1)
  {
  }
}
